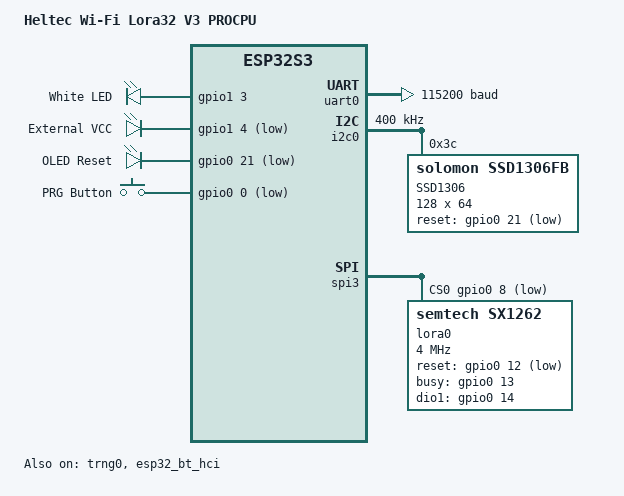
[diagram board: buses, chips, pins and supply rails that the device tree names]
/*
 * Copyright (c) 2024 Nate Aquino
 *
 * SPDX-License-Identifier: Apache-2.0
 */
/dts-v1/;

#include <espressif/esp32s3/esp32s3_fn8.dtsi>
#include "heltec_wifi_lora32_v3-pinctrl.dtsi"
#include <zephyr/dt-bindings/input/input-event-codes.h>
#include <zephyr/dt-bindings/lora/sx126x.h>
#include <espressif/partitions_0x0_amp.dtsi>

/ {
	model = "Heltec Wi-Fi Lora32 V3 PROCPU";
	compatible = "espressif,esp32s3";

	aliases {
		uart-0 = &uart0;
		i2c-0 = &i2c0;
		led0 = &led0;
		sw0 = &button0;
		watchdog0 = &wdt0;
		lora0 = &lora0;
		oledrst = &oledrst;
	};

	leds {
		compatible = "gpio-leds";
		led0: led {
			gpios = <&gpio1 3 GPIO_ACTIVE_HIGH>; // GPIO0 35 == GPIO1 3 
			label = "White LED";
		};

		vext: vext { 
			gpios = <&gpio1 4 GPIO_ACTIVE_LOW>; // GPIO0 36 == GPIO1 4
			label = "External VCC";
		};

		oledrst: oledrst {
			gpios = <&gpio0 21 GPIO_ACTIVE_LOW>;
			label = "OLED Reset";
		};
	};

	buttons {
		compatible = "gpio-keys";
		button0: button_0 {
			gpios = <&gpio0 0 (GPIO_PULL_UP | GPIO_ACTIVE_LOW)>;
			label = "PRG Button";
			zephyr,code = <INPUT_KEY_0>;
		};
	};

	chosen {
		zephyr,sram = &sram1;
		zephyr,console = &uart0;
		zephyr,shell-uart = &uart0;
		zephyr,flash = &flash0;
		zephyr,code-partition = &slot0_partition;
		zephyr,bt-hci = &esp32_bt_hci;
		zephyr,display = &ssd1306;
	};
};

&flash0 {
	reg = <0x0 DT_SIZE_M(4)>;
};

&uart0 {
	status = "okay";
	current-speed = <115200>;
	pinctrl-0 = <&uart0_default>;
	pinctrl-names = "default";
};

&gpio0 {
	status = "okay";
};

&trng0 {
	status = "okay";
};

&i2c0 {
	status = "okay";
	clock-frequency = <I2C_BITRATE_FAST>;
	pinctrl-0 = <&i2c0_default>;
	pinctrl-names = "default";

	ssd1306: ssd1306@3c {
		compatible = "solomon,ssd1306fb";
		reg = <0x3c>;
		label = "SSD1306";
		width = <128>;
		height = <64>;
		segment-offset = <0>;
		page-offset = <0>;
		display-offset = <0>;
		com-invdir;
		segment-remap;
		multiplex-ratio = <63>;
		prechargep = <0x22>;
		reset-gpios = <&gpio0 21 GPIO_ACTIVE_LOW>;
	};
};

&spi3 {  // Note: spi3 may be wrong here
    #address-cells = <1>;
    #size-cells = <0>;
    status = "okay";
    pinctrl-0 = <&spim3_default>;
    pinctrl-names = "default";
    cs-gpios = <&gpio0 8 GPIO_ACTIVE_LOW>;
    lora0: lora@0 {
        compatible = "semtech,sx1262";
        reg = <0>;
        reset-gpios = <&gpio0 12 (GPIO_OPEN_DRAIN | GPIO_ACTIVE_LOW)>;
        busy-gpios = <&gpio0 13 GPIO_ACTIVE_HIGH>;
        dio1-gpios = <&gpio0 14 GPIO_ACTIVE_HIGH>; /* SX1262 DIO1 */
		dio2-tx-enable;
		dio3-tcxo-voltage = <SX126X_DIO3_TCXO_1V8>;
		tcxo-power-startup-delay-ms = <5>;
        spi-max-frequency = <4000000>;
    };
};


&esp32_bt_hci {
	status = "okay";
};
